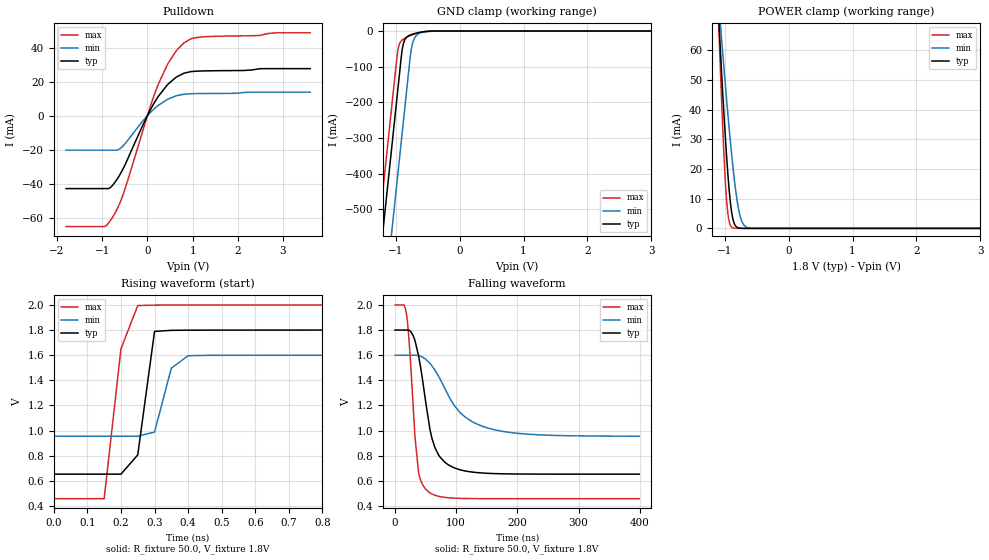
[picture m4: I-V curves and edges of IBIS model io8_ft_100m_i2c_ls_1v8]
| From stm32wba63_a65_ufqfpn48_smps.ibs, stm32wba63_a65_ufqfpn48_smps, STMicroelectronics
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[Model]   io8_ft_100m_i2c_ls_1v8
Model_type I/O_open_drain
Polarity   Non-Inverting
Enable   Active-Low
| CAP_THRESHOLD on pad IOFT is "UDTCAPC" :
| Rising=30.0% of vddiom   Falling=70.0% of vddiom
| C_comp min and max val. don't necessarily correlate with the min and max pvt
| but are the smallest and greatest pad capacitance found.
| var   typ   min   max
C_comp   3.34888pF  3.31958pF  3.48457pF
|C_comp_pulldown   3.34888pF  3.31958pF  3.48457pF
Vinl = 800.0mV
Vinh = 1.0V
Vmeas = 900.0mV   | Reference voltage for timing measurements
Cref  = 50.0pF   | Timing specification test load capacitance value
Rref  = 1.0MOhm   | Timing specification test load resistance value
Vref  = 990.0mV   | Timing specification test load voltage
[Model Spec]
| TIME_THRESHOLD on pin ZII2CV11 is "CMOS" :
| Rising=50.0% of vdd   Falling=50.0% of vdd
Vinl 702.50000mV 626.50000mV 788.50000mV
Vinh 1.09050V 959.50000mV 1.19650V
| variable   typ   min   max
[Temperature Range] 25.0 140.0 -40.0
| variable   typ   min   max
[Voltage Range] 1.8V 1.6V 2.0V
| variable   typ   min   max
[POWER Clamp Reference] 1.8V 1.6V 2.0V
| variable   typ   min   max
[GND Clamp Reference] 0V 0V 0V
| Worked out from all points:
|   slope of the pulldown table from 0 to 0.27 V, typ, clamps not added: 21.9 ohm
|   GND clamp passes 1 mA (typ) near -0.51 V on its own axis
|   POWER clamp passes 1 mA (typ) near -0.83 V on its own axis
|   rising waveform, R_fixture 50.0, V_fixture 1.8V: 20-80 % time 35ps typ, 38.1ps min, 43ps max; typ from 0.654 V to 1.8 V
|   falling waveform, R_fixture 50.0, V_fixture 1.8V: 20-80 % time 24.6ns typ, 55.3ns min, 13.1ns max; typ from 1.8 V to 0.654 V
[POWER Clamp]
-1.8V     396.4mA    285.5mA    556.9mA
-1.09V    69.42mA    75.17mA    67.14mA
-1.08V    65.31mA    72.42mA    61.23mA
-1.06V    57.23mA    66.98mA    49.77mA
-1.02V    41.75mA    56.3mA     28.91mA
-980mV    27.6mA     45.97mA    12.6mA
-940mV    15.59mA    36.11mA    3.485mA
-880mV    4.091mA    22.61mA    262.5uA
-820mV    594.6uA    11.56mA    16.39uA
-760mV    69.41uA    4.321mA    1.008uA
-630mV    611.2nA    197uA      2.486nA
3.6V      0A         0A         0A
[GND Clamp]
-1.8V     -1.583A    -1.82A     -1.468A
-1.43V    -953.9mA   -1.191A    -839.3mA
-1.24V    -630.9mA   -867.8mA   -516.3mA
-1.05V    -307.9mA   -544.8mA   -193.3mA
-980mV    -188.9mA   -425.8mA   -74.3mA
-950mV    -137.9mA   -374.8mA   -41.62mA
-890mV    -44.57mA   -272.8mA   -24.11mA
-800mV    -13.55mA   -119.8mA   -15.31mA
-760mV    -10.3mA    -56.67mA   -12.19mA
-720mV    -7.957mA   -26.08mA   -9.381mA
-540mV    -1.564mA   -2.435mA   -1.367mA
3.6V      1.281nA    268.1nA    531.2pA
| variable   typ   min   max
[Pullup Reference] 1.8V 1.6V 2.0V
| variable   typ   min   max
[Pulldown Reference] 0V 0V 0V
[Pulldown]
-1.8V     -42.97mA   -20.34mA   -65.35mA
-940mV    -42.97mA   -20.34mA   -65.31mA
-780mV    -41.3mA    -20.34mA   -60.25mA
-650mV    -36.58mA   -20.1mA    -53.93mA
-530mV    -30.86mA   -17.55mA   -45.89mA
0V        0A         -20fA      -3.2fA
250mV     11.67mA    6.208mA    19.03mA
460mV     18.64mA    9.755mA    30.89mA
630mV     22.5mA     11.58mA    37.88mA
810mV     24.97mA    12.61mA    42.87mA
1.18V     26.28mA    13mA       46.33mA
3.6V      27.68mA    13.83mA    48.76mA
[Ramp]
dV/dt_r 687.67238mV/314.31668ps 386.81556mV/611.51382ps 924.84926mV/229.78448ps
dV/dt_f 687.69262mV/24.38865ns 386.62487mV/55.14032ns 924.8647mV/12.22554ns
R_load = 50.0
| Removed startup time: 0s 0s 0s  .
| Removed end time: 1.75ns.
[Rising Waveform]
R_fixture   = 50.0
V_fixture   = 1.8V
V_fixture_min = 1.6V
V_fixture_max = 2.0V
0s        653.8mV    955.3mV    458.6mV
150ps     653.8mV    955.3mV    458.5mV
200ps     653.8mV    955.2mV    1.651V
250ps     806.7mV    955.1mV    1.995V
300ps     1.789V     988.6mV    1.998V
350ps     1.798V     1.497V     1.999V
400ps     1.799V     1.596V     2V
1.75ns    1.8V       1.6V       2V
| Removed startup time: 0s 0s 0s  .
| Removed end time: 399.25ns.
[Falling Waveform]
R_fixture   = 50.0
V_fixture   = 1.8V
V_fixture_min = 1.6V
V_fixture_max = 2.0V
0s        1.8V       1.6V       2V
17.9ns    1.8V       1.6V       1.95V
23.3ns    1.799V     1.6V       1.688V
32.6ns    1.716V     1.6V       951.4mV
38.45ns   1.595V     1.596V     666.8mV
57.05ns   1.011V     1.535V     504.9mV
81.5ns    748.1mV    1.335V     469.2mV
106ns     688.8mV    1.146V     461.2mV
146.7ns   661.7mV    1.028V     458.8mV
399.3ns   653.8mV    955.6mV    458.6mV
